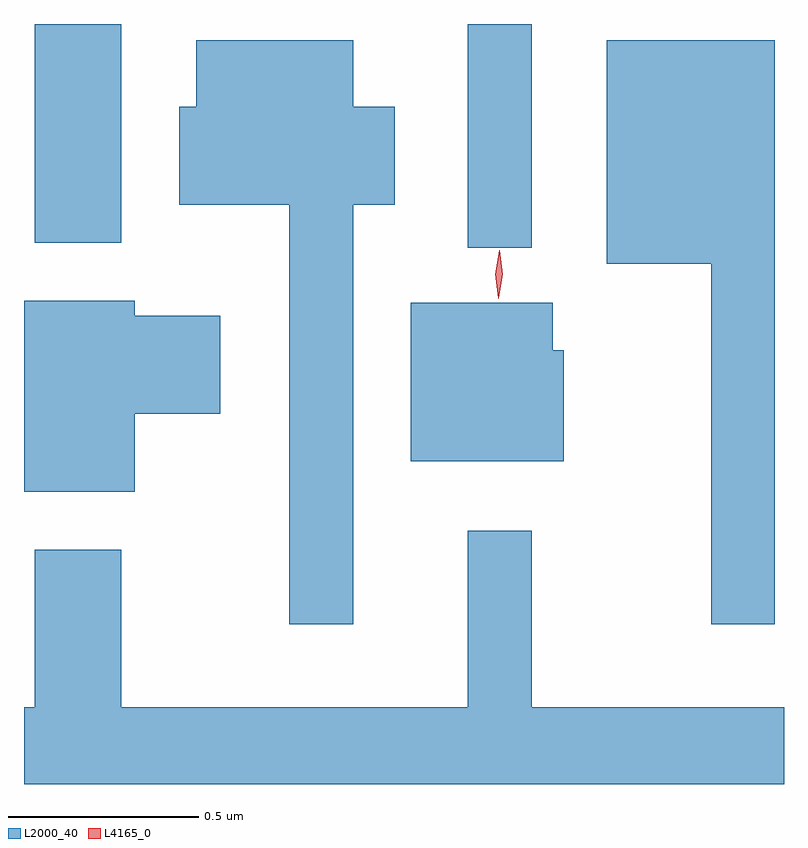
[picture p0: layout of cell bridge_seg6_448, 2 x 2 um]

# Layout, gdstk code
import gdstk
lib = gdstk.Library(unit=1e-6, precision=1e-09)
def R(c, l, rs):  # rectangles x0, y0, x1, y1
    for r in rs: c.add(gdstk.rectangle(r[:2], r[2:], *l))
def P(c, l, *ps):  # polygons
    for p in ps: c.add(gdstk.Polygon(p, *l))
L2000_40 = (2000, 40)
L4165_0 = (4165, 0)

bridge_seg6_448 = lib.new_cell('bridge_seg6_448')
R(bridge_seg6_448, L2000_40, [(908.651,1602.573,908.819,1603.162), (907.511,1602.586,907.739,1603.162)])
P(bridge_seg6_448, L2000_40, [(908.349,1602.686),(908.459,1602.686),(908.459,1602.944),(908.349,1602.944),(908.349,1603.119),(907.936,1603.119),(907.936,1602.944),(907.891,1602.944),(907.891,1602.686),(908.181,1602.686),(908.181,1601.583),(908.349,1601.583)],
  [(909.459,1603.119),(909.016,1603.119),(909.016,1602.531),(909.291,1602.531),(909.291,1601.583),(909.459,1601.583)],
  [(907.774,1602.136),(907.999,1602.136),(907.999,1602.394),(907.774,1602.394),(907.774,1602.434),(907.483,1602.434),(907.483,1601.931),(907.774,1601.931)],
  [(908.904,1602.304),(908.874,1602.304),(908.874,1602.429),(908.501,1602.429),(908.501,1602.011),(908.904,1602.011)],
  [(909.483,1601.364),(908.819,1601.364),(908.819,1601.828),(908.651,1601.828),(908.651,1601.364),(907.739,1601.364),(907.739,1601.779),(907.511,1601.779),(907.511,1601.364),(907.483,1601.364),(907.483,1601.162),(909.483,1601.162)])
P(bridge_seg6_448, L4165_0, [(908.731,1602.439),(908.731,1602.44),(908.723,1602.503),(908.734,1602.567),(908.734,1602.567),(908.735,1602.567),(908.743,1602.503),(908.732,1602.44)])

lib.write_gds('bridge_seg6_448.gds')
